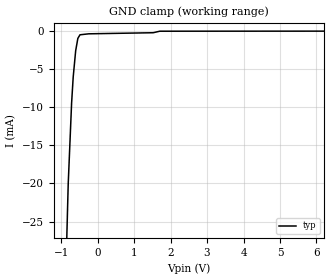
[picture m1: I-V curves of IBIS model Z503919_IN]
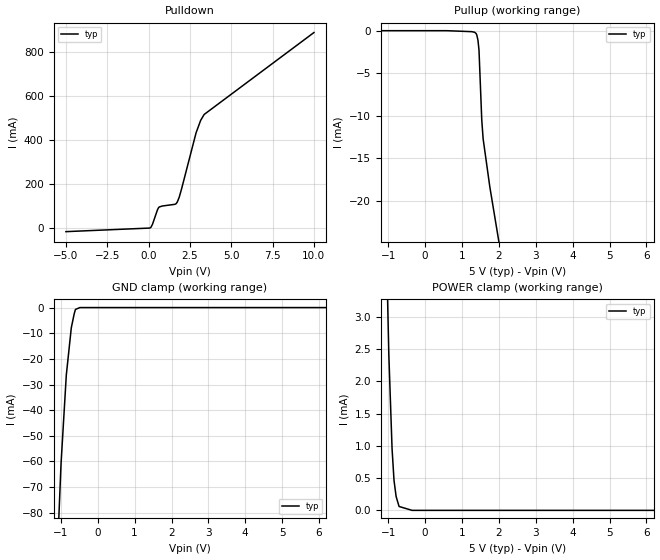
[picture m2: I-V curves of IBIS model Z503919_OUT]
| YOU ARE ONLY AUTHORIZED TO USE THIS SOFTWARE
| ACCORDING TO LICENSOR'S LICENSE RESTRICTIONS.
[IBIS Ver] 3.1
[File Name] mc54f195j.ibs
[File Rev] 2.0
[Source] Measured and created by ICX Technology
[Date] Friday 7/14/00 9:08:02 AM
[Copyright]
| (C) COPYRIGHT 1993-2000
| MENTOR GRAPHICS CORPORATION
| ICX STANDARD LIBRARY, ICX PROJECT MODELING,
| ICX CUSTOM MODELING, ICX VENDOR MODEL
| ALL RIGHTS RESERVED.
| THE FOLLOWING ARE TRADEMARKS OR SERVICE MARKS OF
| MENTOR GRAPHICS CORPORATION:ICX (R), ICX STANDARD
| LIBRARY(R), ICX PROJECT MODELING(R), ICX CUSTOM
| MODELING(R), qualityIBIS(TM), MODELVIEWER(TM),
| AND MODELEDITOR(TM)
| ALL COPIES OF SOFTWARE, INCLUDING BUT NOT LIMITED TO
| ANY MODIFICATIONS, ENHANCEMENTS OR DERIVATIVE WORKS,
| MUST CONTAIN ALL MENTOR GRAPHICS CORPORATION'S
| NOTICES AND LEGENDS, INCLUDING THOSE EMBEDDED IN
| SOFTWARE AND THOSE AFFIXED TO SOFTWARE MEDIUM
| AND CONTAINER, AS RECEIVED FROM MENTOR GRAPHICS
| CORPORATION.
|  ZAP Model Builder 2.7
[Component] MC54F195J
[Manufacturer] OnSemiconductor
[Package]
| variable   typ   min   max
R_pkg  .212ohms NA NA
L_pkg  4.758nH NA NA
C_pkg  1.944pF NA NA
[Pin] signal_name  model_name  R_pin  L_pin C_pin
1 _CLR Z503919_IN .224 7.258n 2.683p
2 J Z503919_IN .216 5.258n 2.19p
3 _K Z503919_IN .208 3.758n 1.697p
4 A Z503919_IN .2 2.758n 1.204p
5 B Z503919_IN .2 2.758n 1.204p
6 C Z503919_IN .208 3.758n 1.697p
7 D Z503919_IN .216 5.258n 2.19p
8 GND GND .224 7.258n 2.683p
9 SH_LD Z503919_IN .224 7.258n 2.683p
10 CLK Z503919_IN .216 5.258n 2.19p
11 _QD Z503919_OUT .208 3.758n 1.697p
12 QD Z503919_OUT .2 2.758n 1.204p
13 QC Z503919_OUT .2 2.758n 1.204p
14 QB Z503919_OUT .208 3.758n 1.697p
15 QA Z503919_OUT .216 5.258n 2.19p
16 VCC POWER .224 7.258n 2.683p
| Models and submodels in the file (2): Z503919_IN (Input), Z503919_OUT (Output)
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| (C) COPYRIGHT 1993-2000
| MENTOR GRAPHICS CORPORATION
| ICX STANDARD LIBRARY, ICX PROJECT MODELING,
| ICX CUSTOM MODELING, ICX VENDOR MODEL
| ALL RIGHTS RESERVED.
| THE FOLLOWING ARE TRADEMARKS OR SERVICE MARKS OF
| MENTOR GRAPHICS CORPORATION:ICX (R), ICX STANDARD
| LIBRARY(R), ICX PROJECT MODELING(R), ICX CUSTOM
| MODELING(R), qualityIBIS(TM), MODELVIEWER(TM),
| AND MODELEDITOR(TM)
| ALL COPIES OF SOFTWARE, INCLUDING BUT NOT LIMITED TO
| ANY MODIFICATIONS, ENHANCEMENTS OR DERIVATIVE WORKS,
| MUST CONTAIN ALL MENTOR GRAPHICS CORPORATION'S
| NOTICES AND LEGENDS, INCLUDING THOSE EMBEDDED IN
| SOFTWARE AND THOSE AFFIXED TO SOFTWARE MEDIUM
| AND CONTAINER, AS RECEIVED FROM MENTOR GRAPHICS
| CORPORATION.
| Model Application Version 1.89 2/18/99.
[Model] Z503919_IN
Model_type Input
Vinl = 800.0mV
Vinh = 2.000V
C_comp 4.000pF NA NA
| variable typ   min   max
[Voltage Range] 5.000V NA NA
[GND Clamp Reference] 0.000V NA NA
[POWER Clamp Reference] 5.000V NA NA
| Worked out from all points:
|   GND clamp passes 1 mA (typ) near -0.54 V on its own axis
[GND Clamp]
-5V       -777.8mA   NA         NA
-805.6mV  -20.08mA   NA         NA
-712.9mV  -9.471mA   NA         NA
-668.9mV  -6.029mA   NA         NA
-601mV    -2.566mA   NA         NA
-541.5mV  -952.1uA   NA         NA
-482.8mV  -477.5uA   NA         NA
-241.4mV  -349.1uA   NA         NA
1.525V    -206.7uA   NA         NA
1.704V    -6.304uA   NA         NA
10V       9.461uA    NA         NA
[POWER Clamp]
-5V       0A         NA         NA
10V       0A         NA         NA
| (C) COPYRIGHT 1993-2000
| MENTOR GRAPHICS CORPORATION
| ICX STANDARD LIBRARY, ICX PROJECT MODELING,
| ICX CUSTOM MODELING, ICX VENDOR MODEL
| ALL RIGHTS RESERVED.
| THE FOLLOWING ARE TRADEMARKS OR SERVICE MARKS OF
| MENTOR GRAPHICS CORPORATION:ICX (R), ICX STANDARD
| LIBRARY(R), ICX PROJECT MODELING(R), ICX CUSTOM
| MODELING(R), qualityIBIS(TM), MODELVIEWER(TM),
| AND MODELEDITOR(TM)
| ALL COPIES OF SOFTWARE, INCLUDING BUT NOT LIMITED TO
| ANY MODIFICATIONS, ENHANCEMENTS OR DERIVATIVE WORKS,
| MUST CONTAIN ALL MENTOR GRAPHICS CORPORATION'S
| NOTICES AND LEGENDS, INCLUDING THOSE EMBEDDED IN
| SOFTWARE AND THOSE AFFIXED TO SOFTWARE MEDIUM
| AND CONTAINER, AS RECEIVED FROM MENTOR GRAPHICS
| CORPORATION.
| Model Application Version 1.89 2/18/99.
[Model] Z503919_OUT
Model_type Output
Vref=0.000V
Rref=500.0ohms
Cref=50.00pF
Vmeas=1.500V
C_comp 8.000pF NA NA
| variable typ   min   max
[Voltage Range] 5.000V NA NA
[POWER Clamp Reference] 5.000V NA NA
[Pullup Reference] 5.000V NA NA
[Pulldown Reference] 0.000V NA NA
[GND Clamp Reference] 0.000V NA NA
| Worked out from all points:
|   slope of the pulldown table from 0 to 0.75 V, typ, clamps not added: 7.6 ohm
|   slope of the pullup table from 0 to 0.75 V, typ, clamps not added: 27 kohm
|   GND clamp passes 1 mA (typ) near -0.61 V on its own axis
|   POWER clamp passes 1 mA (typ) near -0.90 V on its own axis
[GND Clamp]
-5V       -1.794A    NA         NA
-1.112V   -101.5mA   NA         NA
-995.9mV  -60.83mA   NA         NA
-853.5mV  -26.35mA   NA         NA
-717.7mV  -7.863mA   NA         NA
-639.6mV  -2.453mA   NA         NA
-605.4mV  -720.9uA   NA         NA
-484.3mV  0A         NA         NA
10V       0A         NA         NA
[Pulldown]
-5V       -17.57mA   NA         NA
131.3mV   1.205mA    NA         NA
233.1mV   15.35mA    NA         NA
538.6mV   82.19mA    NA         NA
645.3mV   94.74mA    NA         NA
1.588V    106.7mA    NA         NA
1.738V    117.6mA    NA         NA
1.992V    176.2mA    NA         NA
2.871V    432mA      NA         NA
3.146V    488.4mA    NA         NA
3.359V    515.5mA    NA         NA
10V       888.3mA    NA         NA
[Pullup]
-5V       17.12uA    NA         NA
586mV     17.12uA    NA         NA
1.26V     -96.85uA   NA         NA
1.343V    -169.8uA   NA         NA
1.382V    -321.7uA   NA         NA
1.4V      -482.7uA   NA         NA
1.432V    -1.109mA   NA         NA
1.46V     -2.268mA   NA         NA
1.535V    -10.51mA   NA         NA
1.572V    -12.72mA   NA         NA
1.753V    -18.37mA   NA         NA
10V       -235.4mA   NA         NA
[POWER Clamp]
-5V       104.5mA    NA         NA
-986mV    2.417mA    NA         NA
-898mV    955.4uA    NA         NA
-845mV    462.8uA    NA         NA
-788mV    214.4uA    NA         NA
-708mV    60.03uA    NA         NA
-354mV    0A         NA         NA
10V       0A         NA         NA
[Ramp]
| variable typ min max
dV/dt_r 2.039/2.409n NA NA
dV/dt_f 2.039/965.8p NA NA
R_load = 500.0Ohms
